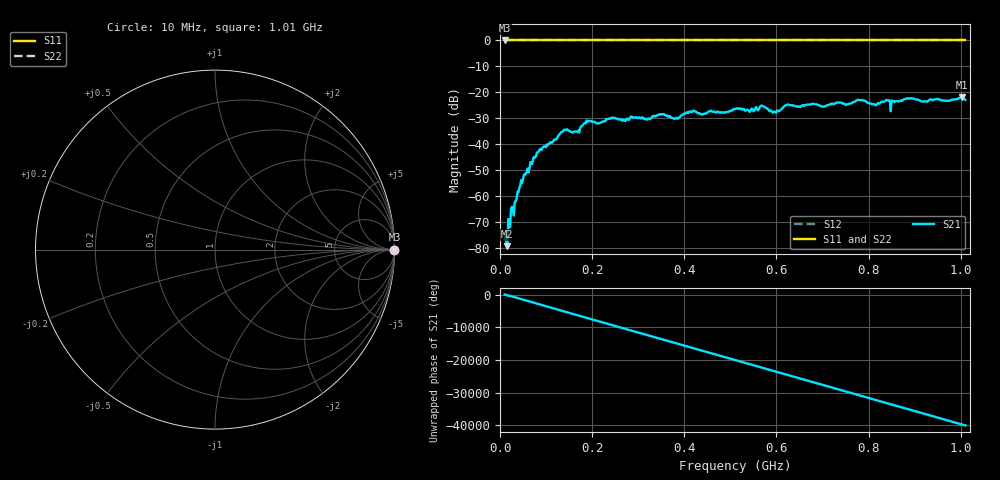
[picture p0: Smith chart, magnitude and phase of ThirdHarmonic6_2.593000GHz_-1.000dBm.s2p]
! 8/17/2025 5:34:05 AM
! C:\ANRITSUVNA\TEMP\TEMP.S2P
! CHANNEL.1
! TR.MEASUREMENT
! RAW.DATA
! RF.CORRECTION.OFF
! AVERAGING.OFF
! IF.BANDWIDTH: 5KHZ
! SWEEPTYPE:  FREQ.SWEEP(Linear)
! Reference Plane Port Info
! PORT:  PORT1  PORT2
! DISTANCE:  0  m  0  m
! TIME:  0  s  0  s
! PHASE.OFFSET:  0  deg.  0  deg.
! LOSS:  0  dB  0  dB
! REF.LOSS:  0  dB  0  dB
! REF.FREQ:  0  Hz  0  Hz
! Power Info
! POWER:  -20  dBm  -20  dBm
! EFF.POWER:  -20  dBm  -20  dBm
! SOURCE.ATTEN:  0  dB  0  dB
! TEST.ATTEN:  0  dB  0  dB
# GHZ S RI R 50.0
! FREQ.GHZ  S11RE  S11IM  S21RE  S21IM  S12RE  S12IM  S22RE  S22IM
!; PortSelection: Port_12
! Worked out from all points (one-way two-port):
!   501 points, 10 MHz to 1.01 GHz, reference 50 ohm
!   highest |S21| = -21.80 dB at 1.002 GHz (marker M1); lowest = -79.2 dB at 16 MHz (marker M2)
!   lowest |S11| = 0.0 dB at 10 MHz (marker M3)
!   |S11| at or under -10 dB: nowhere
!   |S22| runs from 0.0 to 0.0 dB; largest |S21 - S12| = 1.1
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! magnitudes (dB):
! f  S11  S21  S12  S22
! 10 MHz  0.0  -76.7  0.0  0.0
! 16 MHz  0.0  -79.2  0.0  0.0
! 18 MHz  0.0  -68.7  0.0  0.0
! 22 MHz  0.0  -71.8  0.0  0.0
! 42 MHz  0.0  -56.8  0.0  0.0
! 84 MHz  0.0  -42.7  0.0  0.0
! 136 MHz  0.0  -35.1  0.0  0.0
! 168 MHz  0.0  -35.1  0.0  0.0
! 178 MHz  0.0  -32.9  0.0  0.0
! 192 MHz  0.0  -31.0  0.0  0.0
! 322 MHz  0.0  -30.0  0.0  0.0
! 344 MHz  0.0  -28.7  0.0  0.0
! 382 MHz  0.0  -29.7  0.0  0.0
! 416 MHz  0.0  -27.6  0.0  0.0
! 510 MHz  0.0  -26.4  0.0  0.0
! 570 MHz  0.0  -25.3  0.0  0.0
! 596 MHz  0.0  -27.4  0.0  0.0
! 622 MHz  0.0  -24.8  0.0  0.0
! 678 MHz  0.0  -24.5  0.0  0.0
! 844 MHz  0.0  -23.2  0.0  0.0
! 1.002 GHz  0.0  -21.8  0.0  0.0
! 1.01 GHz  0.0  -22.9  0.0  0.0
